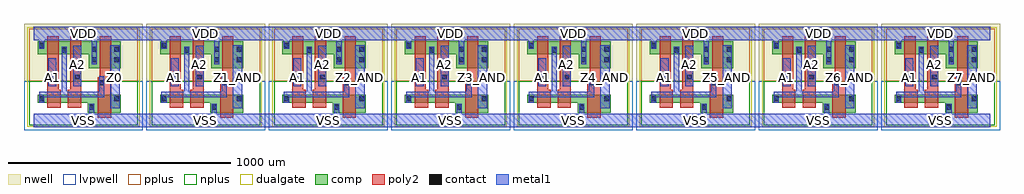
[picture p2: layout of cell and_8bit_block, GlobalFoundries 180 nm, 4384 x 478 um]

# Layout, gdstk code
import gdstk
lib = gdstk.Library(unit=1e-6, precision=1e-07)
def R(c, l, rs):  # rectangles x0, y0, x1, y1
    for r in rs: c.add(gdstk.rectangle(r[:2], r[2:], *l))
def A(c, l, x, y, w, h, nx, ny, dx, dy):  # array of equal rectangles
    R(c, l, [(x+i*dx, y+j*dy, x+i*dx+w, y+j*dy+h) for i in range(nx) for j in range(ny)])
def P(c, l, *ps):  # polygons
    for p in ps: c.add(gdstk.Polygon(p, *l))
nwell = (21, 0)
comp = (22, 0)
poly2 = (30, 0)
pplus = (31, 0)
nplus = (32, 0)
contact = (33, 0)
metal1 = (34, 0)
dualgate = (55, 0)
lvpwell = (204, 0)

and_8bit_block = lib.new_cell('and_8bit_block')
A(and_8bit_block, nwell, -43, 176, 534, 259, 8, 1, 550, 0)
P(and_8bit_block, comp, [(794,34.5),(794,79.5),(568,79.5),(568,116),(942,116),(942,34.5)],
  [(798,236),(798,297.5),(568,297.5),(568,357.5),(942,357.5),(942,236)],
  [(1894,34.5),(1894,79.5),(1668,79.5),(1668,116),(2042,116),(2042,34.5)],
  [(1898,236),(1898,297.5),(1668,297.5),(1668,357.5),(2042,357.5),(2042,236)],
  [(1344,34.5),(1344,79.5),(1118,79.5),(1118,116),(1492,116),(1492,34.5)],
  [(1348,236),(1348,297.5),(1118,297.5),(1118,357.5),(1492,357.5),(1492,236)],
  [(2994,34.5),(2994,79.5),(2768,79.5),(2768,116),(3142,116),(3142,34.5)],
  [(2998,236),(2998,297.5),(2768,297.5),(2768,357.5),(3142,357.5),(3142,236)],
  [(4094,34.5),(4094,79.5),(3868,79.5),(3868,116),(4242,116),(4242,34.5)],
  [(4098,236),(4098,297.5),(3868,297.5),(3868,357.5),(4242,357.5),(4242,236)],
  [(3544,34.5),(3544,79.5),(3318,79.5),(3318,116),(3692,116),(3692,34.5)],
  [(3548,236),(3548,297.5),(3318,297.5),(3318,357.5),(3692,357.5),(3692,236)],
  [(2444,34.5),(2444,79.5),(2218,79.5),(2218,116),(2592,116),(2592,34.5)],
  [(2448,236),(2448,297.5),(2218,297.5),(2218,357.5),(2592,357.5),(2592,236)],
  [(244,34.5),(244,79.5),(18,79.5),(18,116),(392,116),(392,34.5)],
  [(248,236),(248,297.5),(18,297.5),(18,357.5),(392,357.5),(392,236)])
P(and_8bit_block, poly2, [(612,57.5),(612,380),(662,380),(662,138),(672,138),(672,57.5)],
  [(704,57.5),(704,138),(714,138),(714,380),(764,380),(764,57.5)],
  [(838,12),(838,194.5),(848,194.5),(848,380),(898,380),(898,12)],
  [(1712,57.5),(1712,380),(1762,380),(1762,138),(1772,138),(1772,57.5)],
  [(1804,57.5),(1804,138),(1814,138),(1814,380),(1864,380),(1864,57.5)],
  [(1938,12),(1938,194.5),(1948,194.5),(1948,380),(1998,380),(1998,12)],
  [(1162,57.5),(1162,380),(1212,380),(1212,138),(1222,138),(1222,57.5)],
  [(1254,57.5),(1254,138),(1264,138),(1264,380),(1314,380),(1314,57.5)],
  [(1388,12),(1388,194.5),(1398,194.5),(1398,380),(1448,380),(1448,12)],
  [(2812,57.5),(2812,380),(2862,380),(2862,138),(2872,138),(2872,57.5)],
  [(2904,57.5),(2904,138),(2914,138),(2914,380),(2964,380),(2964,57.5)],
  [(3038,12),(3038,194.5),(3048,194.5),(3048,380),(3098,380),(3098,12)],
  [(3912,57.5),(3912,380),(3962,380),(3962,138),(3972,138),(3972,57.5)],
  [(4004,57.5),(4004,138),(4014,138),(4014,380),(4064,380),(4064,57.5)],
  [(4138,12),(4138,194.5),(4148,194.5),(4148,380),(4198,380),(4198,12)],
  [(3362,57.5),(3362,380),(3412,380),(3412,138),(3422,138),(3422,57.5)],
  [(3454,57.5),(3454,138),(3464,138),(3464,380),(3514,380),(3514,57.5)],
  [(3588,12),(3588,194.5),(3598,194.5),(3598,380),(3648,380),(3648,12)],
  [(2262,57.5),(2262,380),(2312,380),(2312,138),(2322,138),(2322,57.5)],
  [(2354,57.5),(2354,138),(2364,138),(2364,380),(2414,380),(2414,57.5)],
  [(2488,12),(2488,194.5),(2498,194.5),(2498,380),(2548,380),(2548,12)],
  [(62,57.5),(62,380),(112,380),(112,138),(122,138),(122,57.5)],
  [(154,57.5),(154,138),(164,138),(164,380),(214,380),(214,57.5)],
  [(288,12),(288,194.5),(298,194.5),(298,380),(348,380),(348,12)])
A(and_8bit_block, pplus, -20, 176, 488, 236, 8, 1, 550, 0)
A(and_8bit_block, nplus, -20, -20, 488, 196, 8, 1, 550, 0)
A(and_8bit_block, contact, 251, 48.5, 22, 22, 8, 1, 550, 0)
A(and_8bit_block, contact, 295, 158.5, 22, 22, 8, 1, 550, 0)
A(and_8bit_block, contact, 127, 304.5, 22, 22, 8, 1, 550, 0)
A(and_8bit_block, contact, 25, 328.5, 22, 22, 8, 1, 550, 0)
R(and_8bit_block, contact, [(25,86.5,47,108.5), (363,86.5,385,108.5), (575,86.5,597,108.5), (913,86.5,935,108.5), (1125,86.5,1147,108.5), (1463,86.5,1485,108.5), (1675,86.5,1697,108.5), (2013,86.5,2035,108.5), (2225,86.5,2247,108.5), (2563,86.5,2585,108.5), (2775,86.5,2797,108.5), (3113,86.5,3135,108.5), (3325,86.5,3347,108.5), (3663,86.5,3685,108.5), (3875,86.5,3897,108.5), (4213,86.5,4235,108.5), (73,185,95,207), (185,185,207,207), (623,185,645,207), (735,185,757,207), (1173,185,1195,207), (1285,185,1307,207), (1723,185,1745,207), (1835,185,1857,207), (2273,185,2295,207), (2385,185,2407,207), (2823,185,2845,207), (2935,185,2957,207), (3373,185,3395,207), (3485,185,3507,207), (3923,185,3945,207), (4035,185,4057,207), (261,263,283,285), (363,263,385,285), (811,263,833,285), (913,263,935,285), (1361,263,1383,285), (1463,263,1485,285), (1911,263,1933,285), (2013,263,2035,285), (2461,263,2483,285), (2563,263,2585,285), (3011,263,3033,285), (3113,263,3135,285), (3561,263,3583,285), (3663,263,3685,285), (4111,263,4133,285), (4213,263,4235,285), (261,310,283,332), (363,310,385,332), (811,310,833,332), (913,310,935,332), (1361,310,1383,332), (1463,310,1485,332), (1911,310,1933,332), (2013,310,2035,332), (2461,310,2483,332), (2563,310,2585,332), (3011,310,3033,332), (3113,310,3135,332), (3561,310,3583,332), (3663,310,3685,332), (4111,310,4133,332), (4213,310,4235,332)])
A(and_8bit_block, metal1, 345, 55.5, 42, 282.5, 8, 1, 550, 0)
A(and_8bit_block, metal1, 66, 154, 36, 127, 8, 1, 550, 0)
A(and_8bit_block, metal1, 178, 154, 36, 183, 8, 1, 550, 0)
P(and_8bit_block, metal1, [(260.5,253),(260.5,362),(47.5,362),(47.5,322.5),(24.5,322.5),(24.5,362),(0,362),(0,422),(4298,422),(4298,362),(4133.5,362),(4133.5,253),(4110.5,253),(4110.5,362),(3897.5,362),(3897.5,322.5),(3874.5,322.5),(3874.5,362),(3583.5,362),(3583.5,253),(3560.5,253),(3560.5,362),(3347.5,362),(3347.5,322.5),(3324.5,322.5),(3324.5,362),(3033.5,362),(3033.5,253),(3010.5,253),(3010.5,362),(2797.5,362),(2797.5,322.5),(2774.5,322.5),(2774.5,362),(2483.5,362),(2483.5,253),(2460.5,253),(2460.5,362),(2247.5,362),(2247.5,322.5),(2224.5,322.5),(2224.5,362),(1933.5,362),(1933.5,253),(1910.5,253),(1910.5,362),(1697.5,362),(1697.5,322.5),(1674.5,322.5),(1674.5,362),(1383.5,362),(1383.5,253),(1360.5,253),(1360.5,362),(1147.5,362),(1147.5,322.5),(1124.5,322.5),(1124.5,362),(833.5,362),(833.5,253),(810.5,253),(810.5,362),(597.5,362),(597.5,322.5),(574.5,322.5),(574.5,362),(283.5,362),(283.5,253)],
  [(0,-30),(0,30),(250.5,30),(250.5,76.5),(273.5,76.5),(273.5,30),(800.5,30),(800.5,76.5),(823.5,76.5),(823.5,30),(1350.5,30),(1350.5,76.5),(1373.5,76.5),(1373.5,30),(1900.5,30),(1900.5,76.5),(1923.5,76.5),(1923.5,30),(2450.5,30),(2450.5,76.5),(2473.5,76.5),(2473.5,30),(3000.5,30),(3000.5,76.5),(3023.5,76.5),(3023.5,30),(3550.5,30),(3550.5,76.5),(3573.5,76.5),(3573.5,30),(4100.5,30),(4100.5,76.5),(4123.5,76.5),(4123.5,30),(4298,30),(4298,-30)],
  [(574.5,80.5),(574.5,129),(676.5,129),(676.5,332.5),(699.5,332.5),(699.5,129),(844.5,129),(844.5,198.5),(867.5,198.5),(867.5,105.5),(597.5,105.5),(597.5,80.5)],
  [(1674.5,80.5),(1674.5,129),(1776.5,129),(1776.5,332.5),(1799.5,332.5),(1799.5,129),(1944.5,129),(1944.5,198.5),(1967.5,198.5),(1967.5,105.5),(1697.5,105.5),(1697.5,80.5)],
  [(1124.5,80.5),(1124.5,129),(1226.5,129),(1226.5,332.5),(1249.5,332.5),(1249.5,129),(1394.5,129),(1394.5,198.5),(1417.5,198.5),(1417.5,105.5),(1147.5,105.5),(1147.5,80.5)],
  [(2774.5,80.5),(2774.5,129),(2876.5,129),(2876.5,332.5),(2899.5,332.5),(2899.5,129),(3044.5,129),(3044.5,198.5),(3067.5,198.5),(3067.5,105.5),(2797.5,105.5),(2797.5,80.5)],
  [(3874.5,80.5),(3874.5,129),(3976.5,129),(3976.5,332.5),(3999.5,332.5),(3999.5,129),(4144.5,129),(4144.5,198.5),(4167.5,198.5),(4167.5,105.5),(3897.5,105.5),(3897.5,80.5)],
  [(3324.5,80.5),(3324.5,129),(3426.5,129),(3426.5,332.5),(3449.5,332.5),(3449.5,129),(3594.5,129),(3594.5,198.5),(3617.5,198.5),(3617.5,105.5),(3347.5,105.5),(3347.5,80.5)],
  [(2224.5,80.5),(2224.5,129),(2326.5,129),(2326.5,332.5),(2349.5,332.5),(2349.5,129),(2494.5,129),(2494.5,198.5),(2517.5,198.5),(2517.5,105.5),(2247.5,105.5),(2247.5,80.5)],
  [(24.5,80.5),(24.5,129),(126.5,129),(126.5,332.5),(149.5,332.5),(149.5,129),(294.5,129),(294.5,198.5),(317.5,198.5),(317.5,105.5),(47.5,105.5),(47.5,80.5)])
A(and_8bit_block, dualgate, -28, -28, 504, 448, 8, 1, 550, 0)
A(and_8bit_block, lvpwell, -43, -43, 534, 219, 8, 1, 550, 0)
and_8bit_block.add(gdstk.Label('Z0', (364,196), layer=34, texttype=10))
and_8bit_block.add(gdstk.Label('Z1_AND', (914,196), layer=34, texttype=10))
and_8bit_block.add(gdstk.Label('Z2_AND', (1464,196), layer=34, texttype=10))
and_8bit_block.add(gdstk.Label('Z3_AND', (2014,196), layer=34, texttype=10))
and_8bit_block.add(gdstk.Label('Z4_AND', (2564,196), layer=34, texttype=10))
and_8bit_block.add(gdstk.Label('Z5_AND', (3114,196), layer=34, texttype=10))
and_8bit_block.add(gdstk.Label('Z6_AND', (3664,196), layer=34, texttype=10))
and_8bit_block.add(gdstk.Label('Z7_AND', (4214,196), layer=34, texttype=10))
and_8bit_block.add(gdstk.Label('VDD', (2974,392), layer=34, texttype=10))
and_8bit_block.add(gdstk.Label('VSS', (2974,0), layer=34, texttype=10))
and_8bit_block.add(gdstk.Label('A1', (2834,196), layer=34, texttype=10))
and_8bit_block.add(gdstk.Label('A2', (2946,252), layer=34, texttype=10))
and_8bit_block.add(gdstk.Label('VDD', (4074,392), layer=34, texttype=10))
and_8bit_block.add(gdstk.Label('VSS', (4074,0), layer=34, texttype=10))
and_8bit_block.add(gdstk.Label('A1', (3934,196), layer=34, texttype=10))
and_8bit_block.add(gdstk.Label('A2', (4046,252), layer=34, texttype=10))
and_8bit_block.add(gdstk.Label('VDD', (3524,392), layer=34, texttype=10))
and_8bit_block.add(gdstk.Label('VSS', (3524,0), layer=34, texttype=10))
and_8bit_block.add(gdstk.Label('A1', (3384,196), layer=34, texttype=10))
and_8bit_block.add(gdstk.Label('A2', (3496,252), layer=34, texttype=10))
and_8bit_block.add(gdstk.Label('VDD', (2424,392), layer=34, texttype=10))
and_8bit_block.add(gdstk.Label('VSS', (2424,0), layer=34, texttype=10))
and_8bit_block.add(gdstk.Label('A1', (2284,196), layer=34, texttype=10))
and_8bit_block.add(gdstk.Label('A2', (2396,252), layer=34, texttype=10))
and_8bit_block.add(gdstk.Label('VDD', (1874,392), layer=34, texttype=10))
and_8bit_block.add(gdstk.Label('VSS', (1874,0), layer=34, texttype=10))
and_8bit_block.add(gdstk.Label('A1', (1734,196), layer=34, texttype=10))
and_8bit_block.add(gdstk.Label('A2', (1846,252), layer=34, texttype=10))
and_8bit_block.add(gdstk.Label('VDD', (1324,392), layer=34, texttype=10))
and_8bit_block.add(gdstk.Label('VSS', (1324,0), layer=34, texttype=10))
and_8bit_block.add(gdstk.Label('A1', (1184,196), layer=34, texttype=10))
and_8bit_block.add(gdstk.Label('A2', (1296,252), layer=34, texttype=10))
and_8bit_block.add(gdstk.Label('VDD', (774,392), layer=34, texttype=10))
and_8bit_block.add(gdstk.Label('VSS', (774,0), layer=34, texttype=10))
and_8bit_block.add(gdstk.Label('A1', (634,196), layer=34, texttype=10))
and_8bit_block.add(gdstk.Label('A2', (746,252), layer=34, texttype=10))
and_8bit_block.add(gdstk.Label('VDD', (224,392), layer=34, texttype=10))
and_8bit_block.add(gdstk.Label('VSS', (224,0), layer=34, texttype=10))
and_8bit_block.add(gdstk.Label('A1', (84,196), layer=34, texttype=10))
and_8bit_block.add(gdstk.Label('A2', (196,252), layer=34, texttype=10))

lib.write_gds('and_8bit_block.gds')
